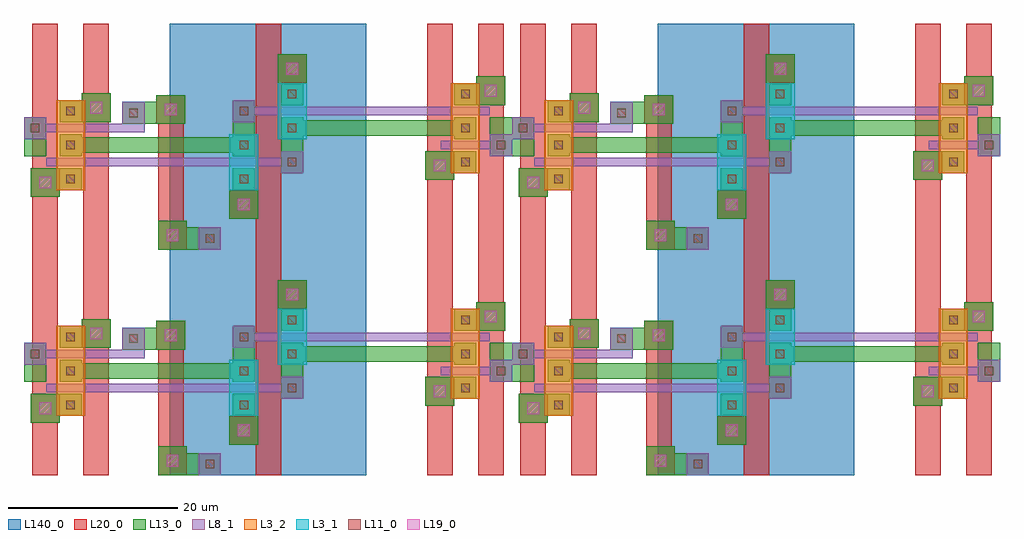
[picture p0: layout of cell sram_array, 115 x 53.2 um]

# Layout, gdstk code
from math import pi, radians
import gdstk
lib = gdstk.Library(unit=1e-6, precision=1e-07)
def R(c, l, rs):  # rectangles x0, y0, x1, y1
    for r in rs: c.add(gdstk.rectangle(r[:2], r[2:], *l))
def A(c, l, x, y, w, h, nx, ny, dx, dy):  # array of equal rectangles
    R(c, l, [(x+i*dx, y+j*dy, x+i*dx+w, y+j*dy+h) for i in range(nx) for j in range(ny)])
L3_1 = (3, 1)
L3_2 = (3, 2)
L8_1 = (8, 1)
L11_0 = (11, 0)
L13_0 = (13, 0)
L19_0 = (19, 0)
L20_0 = (20, 0)
L140_0 = (140, 0)

fet_p = lib.new_cell('fet_p')
R(fet_p, L3_1, [(-3.3,-1.7,3.3,1.7)])
R(fet_p, L11_0, [(-2.5,-0.5,-1.5,0.5), (1.5,-0.5,2.5,0.5)])
R(fet_p, L13_0, [(-3.3,-1.3,-0.7,1.3), (0.7,-1.3,3.3,1.3)])
fet_p.add(gdstk.FlexPath([(0,-2.9),(0,2.9)], 1, ends="flush", simple_path=True, layer=8, datatype=1))  # L8_1

fet_n = lib.new_cell('fet_n')
R(fet_n, L3_2, [(-5.3,-1.7,5.3,1.7)])
A(fet_n, L11_0, -4.5, -0.5, 1, 1, 3, 1, 4, 0)
A(fet_n, L13_0, -5.3, -1.3, 2.6, 2.6, 3, 1, 4, 0)
fet_n.add(gdstk.FlexPath([(2,-2.9),(2,2.9)], 1, ends="flush", simple_path=True, layer=8, datatype=1))  # L8_1
fet_n.add(gdstk.FlexPath([(-2,-2.9),(-2,2.9)], 1, ends="flush", simple_path=True, layer=8, datatype=1))  # L8_1

cont_g = lib.new_cell('cont_g')
R(cont_g, L8_1, [(-1.3,-1.3,1.3,1.3)])
R(cont_g, L11_0, [(-0.5,-0.5,0.5,0.5)])
R(cont_g, L13_0, [(-1.3,-1.3,1.3,1.3)])

via_1 = lib.new_cell('via_1')
R(via_1, L13_0, [(-1.7,-1.7,1.7,1.7)])
R(via_1, L19_0, [(-0.7,-0.7,0.7,0.7)])
R(via_1, L20_0, [(-1.7,-1.7,1.7,1.7)])

sram = lib.new_cell('sram')
R(sram, L8_1, [(-14.4,2,0.2,3), (6,2,7.5,3), (4.4,8,5.9,9), (11.7,8,26.3,9)])
R(sram, L13_0, [(-3.6,-7.8,-2.2,-5.2), (-22.8,3.2,-20.2,5.2), (7.5,3.8,10.1,5.2), (1.8,5.8,4.4,7.2), (32.1,5.8,34.7,7.8), (-8.6,7,-7.2,9.6)])
R(sram, L20_0, [(-21.8,-7.8,-18.8,18.8), (-15.8,-7.8,-12.8,18.8), (4.5,-7.8,7.5,18.8), (24.7,-7.8,27.7,18.8), (30.7,-7.8,33.7,18.8)])
R(sram, L140_0, [(-5.6,-7.8,17.5,18.8)])
sram.add(gdstk.FlexPath([(-16,4.5),(1.8,4.5)], 1.8, ends="flush", simple_path=True, layer=13, datatype=0))  # L13_0
sram.add(gdstk.FlexPath([(10.1,6.5),(13.7,6.5),(27.9,6.5)], 1.8, ends="flush", simple_path=True, layer=13, datatype=0))  # L13_0
sram.add(gdstk.FlexPath([(-5.5,7),(-5.5,-7.8)], 3, ends="flush", simple_path=True, layer=20, datatype=0))  # L20_0
sram.add(gdstk.FlexPath([(-14.4,6.5),(-8.6,6.5)], 1, ends="flush", simple_path=True, layer=8, datatype=1))  # L8_1
sram.add(gdstk.Reference(fet_p, (3.1,2.5), rotation=3*pi/2))
sram.add(gdstk.Reference(fet_p, (8.8,8.5), rotation=pi/2))
sram.add(gdstk.Reference(fet_n, (29.2,6.5), rotation=3*pi/2))
sram.add(gdstk.Reference(cont_g, (3.1,8.5)))
sram.add(gdstk.Reference(cont_g, (8.8,2.5)))
sram.add(gdstk.Reference(fet_n, (-17.3,4.5), rotation=3*pi/2))
sram.add(gdstk.Reference(cont_g, (-21.5,6.5)))
sram.add(gdstk.Reference(cont_g, (33.4,4.5)))
sram.add(gdstk.Reference(via_1, (8.8,13.5)))
sram.add(gdstk.Reference(via_1, (3.1,-2.5)))
sram.add(gdstk.Reference(via_1, (32.2,10.9)))
sram.add(gdstk.Reference(via_1, (-20.3,0.1)))
sram.add(gdstk.Reference(via_1, (26.2,2.1)))
sram.add(gdstk.Reference(via_1, (-14.3,8.9)))
sram.add(gdstk.Reference(via_1, (-5.5,8.7)))
sram.add(gdstk.Reference(via_1, (-5.3,-6.1)))
sram.add(gdstk.Reference(cont_g, (-0.9,-6.5), rotation=pi))
sram.add(gdstk.Reference(cont_g, (-9.9,8.3)))
sram.add(gdstk.Label('Vss', (28.1,10), layer=48, texttype=0))
sram.add(gdstk.Label('BLB', (28.3,3.3), layer=48, texttype=0))
sram.add(gdstk.Label('BL', (-18.4,9.5), layer=48, texttype=0))
sram.add(gdstk.Label('Vdd', (2,-2.9), layer=48, texttype=0))
sram.add(gdstk.Label('Vdd', (8,13.1), layer=48, texttype=0))
sram.add(gdstk.Label('Vss', (-22.6,0), layer=48, texttype=0))
sram.add(gdstk.Label('QB', (20,6.3), layer=48, texttype=0))
sram.add(gdstk.Label('Q', (-10.8,4), layer=48, texttype=0))
sram.add(gdstk.Label('WL', (32.5,6.2), layer=48, texttype=0))
sram.add(gdstk.Label('WL', (-22.6,3.7), layer=48, texttype=0))

sram_array = lib.new_cell('sram_array')
r = gdstk.Reference(sram, (-35,-7)); r.repetition = gdstk.Repetition(2, 2, v1=(57.5,0), v2=(0,26.6)); sram_array.add(r)

lib.write_gds('sram_array.gds')
